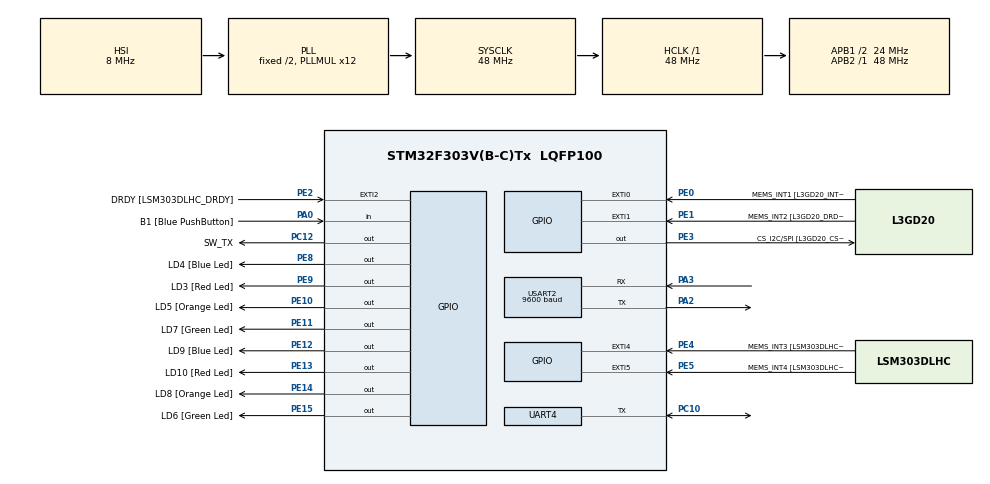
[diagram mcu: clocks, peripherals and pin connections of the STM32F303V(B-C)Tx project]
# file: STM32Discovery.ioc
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Mcu.Family=STM32F3
Mcu.Name=STM32F303V(B-C)Tx
Mcu.Package=LQFP100
NVIC.PriorityGroup=NVIC_PRIORITYGROUP_0
NVIC.TIM2_IRQn=true\:0\:0\:false\:false\:true\:true
NVIC.TIM3_IRQn=true\:0\:0\:false\:false\:true\:true
NVIC.UART4_IRQn=true\:0\:0\:false\:false\:true\:true
PA0.GPIO_Label=B1 [Blue PushButton]
PA0.GPIO_Mode=GPIO_MODE_INPUT
PA0.GPIO_PuPd=GPIO_NOPULL
PA0.Signal=GPIO_Input
PA11.GPIO_Label=DM
PA11.Signal=USB_DM
PA12.GPIO_Label=DP
PA12.Signal=USB_DP
PA13.GPIO_Label=SWDIO
PA13.Signal=SYS_JTMS-SWDIO
PA14.GPIO_Label=SWCLK
PA14.Signal=SYS_JTCK-SWCLK
PA2.Mode=Asynchronous
PA2.Signal=USART2_TX
PA3.Mode=Asynchronous
PA3.Signal=USART2_RX
PA5.GPIO_Label=SPI1_SCK [L3GD20_SCL/SPC]
PA5.GPIO_Mode=GPIO_MODE_AF_PP
PA5.GPIO_PuPd=GPIO_NOPULL
PA5.GPIO_Speed=GPIO_SPEED_FREQ_LOW
PA5.Signal=SPI1_SCK
PA6.GPIO_Label=SPI1_MISO [L3GD20_SA0/SDO]
PA6.GPIO_Mode=GPIO_MODE_AF_PP
PA6.GPIO_PuPd=GPIO_NOPULL
PA6.GPIO_Speed=GPIO_SPEED_FREQ_LOW
PA6.Signal=SPI1_MISO
PA7.GPIO_Label=SPI1_MISO [L3GD20_SDA/SDI/SDO]
PA7.GPIO_Mode=GPIO_MODE_AF_PP
PA7.GPIO_PuPd=GPIO_NOPULL
PA7.GPIO_Speed=GPIO_SPEED_FREQ_LOW
PA7.Signal=SPI1_MOSI
PB3.GPIO_Label=SWO
PB3.Signal=SYS_JTDO-TRACESWO
PB6.GPIO_FM6=__NULL
PB6.GPIO_Label=I2C1_SCL [LSM303DLHC_SCL]
PB6.GPIO_Mode=GPIO_MODE_AF_OD
PB6.GPIO_PuPd=GPIO_NOPULL
PB6.GPIO_Speed=GPIO_SPEED_FREQ_LOW
PB6.Signal=I2C1_SCL
PB7.GPIO_FM7=__NULL
PB7.GPIO_Label=I2C1_SDA [LSM303DLHC_SDA]
PB7.GPIO_Mode=GPIO_MODE_AF_OD
PB7.GPIO_PuPd=GPIO_NOPULL
PB7.GPIO_Speed=GPIO_SPEED_FREQ_LOW
PB7.Signal=I2C1_SDA
PC10.Mode=Half_duplex(single_wire_mode)
PC10.Signal=UART4_TX
PC12.GPIO_Label=SW_TX
PC12.Signal=GPIO_Output
PC14-OSC32_IN.GPIO_Label=OSC32_IN
PC14-OSC32_IN.Signal=RCC_OSC32_IN
PC15-OSC32_OUT.GPIO_Label=OSC32_OUT
PC15-OSC32_OUT.Signal=RCC_OSC32_OUT
PE0.GPIO_Label=MEMS_INT1 [L3GD20_INT1]
PE0.GPIO_ModeDefaultEXTI=GPIO_MODE_EVT_RISING
PE0.GPIO_PuPd=GPIO_NOPULL
PE0.Signal=GPXTI0
PE1.GPIO_Label=MEMS_INT2 [L3GD20_DRDY/INT2]
PE1.GPIO_ModeDefaultEXTI=GPIO_MODE_EVT_RISING
PE1.GPIO_PuPd=GPIO_NOPULL
PE1.Signal=GPXTI1
PE10.GPIO_Label=LD5 [Orange Led]
PE10.GPIO_ModeDefaultOutputPP=GPIO_MODE_OUTPUT_PP
PE10.GPIO_PuPd=GPIO_NOPULL
PE10.GPIO_Speed=GPIO_SPEED_FREQ_LOW
PE10.Signal=GPIO_Output
PE11.GPIO_Label=LD7 [Green Led]
PE11.GPIO_ModeDefaultOutputPP=GPIO_MODE_OUTPUT_PP
PE11.GPIO_PuPd=GPIO_NOPULL
PE11.GPIO_Speed=GPIO_SPEED_FREQ_LOW
PE11.Signal=GPIO_Output
PE12.GPIO_Label=LD9 [Blue Led]
PE12.GPIO_ModeDefaultOutputPP=GPIO_MODE_OUTPUT_PP
PE12.GPIO_PuPd=GPIO_NOPULL
PE12.GPIO_Speed=GPIO_SPEED_FREQ_LOW
PE12.Signal=GPIO_Output
PE13.GPIO_Label=LD10 [Red Led]
PE13.GPIO_ModeDefaultOutputPP=GPIO_MODE_OUTPUT_PP
PE13.GPIO_PuPd=GPIO_NOPULL
PE13.GPIO_Speed=GPIO_SPEED_FREQ_LOW
PE13.Signal=GPIO_Output
PE14.GPIO_Label=LD8 [Orange Led]
PE14.GPIO_ModeDefaultOutputPP=GPIO_MODE_OUTPUT_PP
PE14.GPIO_PuPd=GPIO_NOPULL
PE14.GPIO_Speed=GPIO_SPEED_FREQ_LOW
PE14.Signal=GPIO_Output
PE15.GPIO_Label=LD6 [Green Led]
PE15.GPIO_ModeDefaultOutputPP=GPIO_MODE_OUTPUT_PP
PE15.GPIO_PuPd=GPIO_NOPULL
PE15.GPIO_Speed=GPIO_SPEED_FREQ_LOW
PE15.Signal=GPIO_Output
PE2.GPIO_Label=DRDY [LSM303DLHC_DRDY]
PE2.GPIO_ModeDefaultEXTI=GPIO_MODE_EVT_RISING
PE2.GPIO_PuPd=GPIO_NOPULL
PE2.Signal=GPXTI2
PE3.GPIO_Label=CS_I2C/SPI [L3GD20_CS_I2C/SPI]
PE3.GPIO_ModeDefaultOutputPP=GPIO_MODE_OUTPUT_PP
PE3.GPIO_PuPd=GPIO_NOPULL
PE3.GPIO_Speed=GPIO_SPEED_FREQ_LOW
PE3.Signal=GPIO_Output
PE4.GPIO_Label=MEMS_INT3 [LSM303DLHC_INT1]
PE4.GPIO_ModeDefaultEXTI=GPIO_MODE_EVT_RISING
PE4.GPIO_PuPd=GPIO_NOPULL
PE4.Signal=GPXTI4
PE5.GPIO_Label=MEMS_INT4 [LSM303DLHC_INT2]
PE5.GPIO_ModeDefaultEXTI=GPIO_MODE_EVT_RISING
PE5.GPIO_PuPd=GPIO_NOPULL
PE5.Signal=GPXTI5
PE8.GPIO_Label=LD4 [Blue Led]
PE8.GPIO_ModeDefaultOutputPP=GPIO_MODE_OUTPUT_PP
PE8.GPIO_PuPd=GPIO_NOPULL
PE8.GPIO_Speed=GPIO_SPEED_FREQ_LOW
PE8.Signal=GPIO_Output
PE9.GPIO_Label=LD3 [Red Led]
PE9.GPIO_ModeDefaultOutputPP=GPIO_MODE_OUTPUT_PP
PE9.GPIO_PuPd=GPIO_NOPULL
PE9.GPIO_Speed=GPIO_SPEED_FREQ_LOW
PE9.Signal=GPIO_Output
PF0-OSC_IN.GPIO_Label=OSC_IN
PF0-OSC_IN.Mode=HSE-External-Oscillator
PF0-OSC_IN.Signal=RCC_OSC_IN
PF1-OSC_OUT.GPIO_Label=OSC_OUT
PF1-OSC_OUT.Mode=HSE-External-Oscillator
PF1-OSC_OUT.Signal=RCC_OSC_OUT
ProjectManager.HeapSize=0x200
ProjectManager.StackSize=0x400
ProjectManager.TargetToolchain=SW4STM32
RCC.AHBFreq_Value=48000000
RCC.APB1CLKDivider=RCC_HCLK_DIV2
RCC.APB1Freq_Value=24000000
RCC.APB1TimFreq_Value=48000000
RCC.APB2Freq_Value=48000000
RCC.APB2TimFreq_Value=48000000
RCC.CortexFreq_Value=48000000
RCC.HCLKFreq_Value=48000000
RCC.HSE_VALUE=8000000
RCC.HSI_VALUE=8000000
RCC.LSE_VALUE=32768
RCC.PLLMUL=RCC_PLL_MUL12
RCC.SYSCLKFreq_VALUE=48000000
RCC.SYSCLKSourceVirtual=RCC_SYSCLKSOURCE_PLLCLK
RCC.USBFreq_Value=48000000
TIM2.Period=99
TIM2.Prescaler=49
TIM3.Period=99
TIM3.Prescaler=479
UART4.BaudRate=9600
UART4.Parity=PARITY_ODD
UART4.RxPinLevelInvertParam=UART_ADVFEATURE_RXINV_DISABLE
UART4.StopBits=UART_STOPBITS_2
UART4.WordLength=WORDLENGTH_9B
USART2.BaudRate=9600
USART2.Parity=PARITY_ODD
USART2.StopBits=STOPBITS_2
USART2.VirtualMode-Asynchronous=VM_ASYNC
USART2.WordLength=WORDLENGTH_9B
VP_TIM2_VS_ClockSourceINT.Mode=Internal
VP_TIM3_VS_ClockSourceINT.Mode=Internal
board=STM32F3DISCOVERY

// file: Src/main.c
/**
  ******************************************************************************
  * File Name          : main.c
  * Description        : Main program body
  ******************************************************************************
  ** This notice applies to any and all portions of this file
  * that are not between comment pairs USER CODE BEGIN and
  * USER CODE END. Other portions of this file, whether
  * inserted by the user or by software development tools
  * are owned by their respective copyright owners.
  *
  * COPYRIGHT(c) 2017 STMicroelectronics
  *
  * Redistribution and use in source and binary forms, with or without modification,
  * are permitted provided that the following conditions are met:
  *   1. Redistributions of source code must retain the above copyright notice,
  *      this list of conditions and the following disclaimer.
  *   2. Redistributions in binary form must reproduce the above copyright notice,
  *      this list of conditions and the following disclaimer in the documentation
  *      and/or other materials provided with the distribution.
  *   3. Neither the name of STMicroelectronics nor the names of its contributors
  *      may be used to endorse or promote products derived from this software
  *      without specific prior written permission.
  *
  * THIS SOFTWARE IS PROVIDED BY THE COPYRIGHT HOLDERS AND CONTRIBUTORS "AS IS"
  * AND ANY EXPRESS OR IMPLIED WARRANTIES, INCLUDING, BUT NOT LIMITED TO, THE
  * IMPLIED WARRANTIES OF MERCHANTABILITY AND FITNESS FOR A PARTICULAR PURPOSE ARE
  * DISCLAIMED. IN NO EVENT SHALL THE COPYRIGHT HOLDER OR CONTRIBUTORS BE LIABLE
  * FOR ANY DIRECT, INDIRECT, INCIDENTAL, SPECIAL, EXEMPLARY, OR CONSEQUENTIAL
  * DAMAGES (INCLUDING, BUT NOT LIMITED TO, PROCUREMENT OF SUBSTITUTE GOODS OR
  * SERVICES; LOSS OF USE, DATA, OR PROFITS; OR BUSINESS INTERRUPTION) HOWEVER
  * CAUSED AND ON ANY THEORY OF LIABILITY, WHETHER IN CONTRACT, STRICT LIABILITY,
  * OR TORT (INCLUDING NEGLIGENCE OR OTHERWISE) ARISING IN ANY WAY OUT OF THE USE
  * OF THIS SOFTWARE, EVEN IF ADVISED OF THE POSSIBILITY OF SUCH DAMAGE.
  *
  ******************************************************************************
  */
#include "main.h"
#include "stm32f3xx_hal.h"

/* USER CODE BEGIN Includes */
#include "jeti_uart.h"
/* USER CODE END Includes */

TIM_HandleTypeDef htim2;
TIM_HandleTypeDef htim3;

UART_HandleTypeDef huart4;
UART_HandleTypeDef huart2;

/* USER CODE BEGIN PV */
/* Private variables ---------------------------------------------------------*/

uint8_t circle_buff[2048] = {0};
uint16_t p_low = 0;
uint16_t p_high = 0;
uint32_t timetick_ms =0;

/* USER CODE END PV */

void SystemClock_Config(void);
static void MX_GPIO_Init(void);
static void MX_UART4_Init(void);
static void MX_TIM2_Init(void);
static void MX_USART2_UART_Init(void);
static void MX_TIM3_Init(void);

/* USER CODE BEGIN PFP */
/* Private function prototypes -----------------------------------------------*/

/* USER CODE END PFP */

/* USER CODE BEGIN 0 */

void HAL_TIM_PeriodElapsedCallback(TIM_HandleTypeDef *htim){
	if(&htim->Instance ==TIM2){
		HAL_GPIO_TogglePin(LD3_GPIO_Port,LD3_Pin);
	}
}

/* USER CODE END 0 */

int main(void)
{

  /* MCU Configuration----------------------------------------------------------*/

  /* Reset of all peripherals, Initializes the Flash interface and the Systick. */
  HAL_Init();

  /* Configure the system clock */
  SystemClock_Config();

  /* Initialize all configured peripherals */
  MX_GPIO_Init();
  MX_UART4_Init();
  MX_TIM2_Init();
  MX_USART2_UART_Init();
  MX_TIM3_Init();

  /* USER CODE BEGIN 2 */
  HAL_TIM_Base_Start_IT(&htim2);
  HAL_TIM_Base_Start_IT(&htim3);
  __HAL_UART_ENABLE_IT(&huart4, UART_IT_RXNE);

  HAL_GPIO_WritePin(SW_TX_GPIO_Port,SW_TX_Pin,1);

  uint32_t every_10ms = 0;
  uint32_t every_1s = 0;
  uint32_t every_100ms = 0;

	JETI_EX_DATA ex_data;
	ex_data.man_ID = 0xA4a3;
	ex_data.dev_ID = 0x1259;
	ex_data.identifier_1 = 1;
	ex_data.data_type_1 = 0;
	ex_data.data_1 = 0x1F & 12;
	ex_data.identifier_2 = 2;
	ex_data.data_type_2 = 0;
	ex_data.data_2 = (0x1F & 17) | 0x80;

    JETI_EX_TEXT ex_text1;
    ex_text1.man_ID = 0xA4a3;
    ex_text1.dev_ID = 0x1259;
    ex_text1.identifier = 1;
    ex_text1.label_value = "Deo";
    ex_text1.label_unit = "S";

    JETI_EX_TEXT ex_text2;
    ex_text2.man_ID = 0xA4a3;
    ex_text2.dev_ID = 0x1259;
    ex_text2.identifier = 2;
    ex_text2.label_value = "Fly";
    ex_text2.label_unit = "L";

    JETI_EX_TEXT ex_text3;
    ex_text3.man_ID = 0xA4a3;
    ex_text3.dev_ID = 0x1259;
    ex_text3.identifier = 0;
    ex_text3.label_value = "123456";
    ex_text3.label_unit = "";

    uint8_t text[] = {0xFE,0x20,0x20,0x20,0x2A,0x4D,0x53,0x50,0x45,0x45,0x44,0x20,0x20,0x20,0x6D,0x2F,0x73,0x20,0x20,0x03E,0x3E,0x3E,0x3E,0x3E,0x3E,0x3E,0x3E,0x20,0x31,0x30,0x30,0x2E,0x30,0xFF};
    uint8_t text_l = 34;
    uint16_t seq_text[34];
    uint16_t resend;

    JETI_EX_TEXT ex_text_plain;
	ex_text_plain._msg_lenght = text_l;

    generate_seq(text,ex_text_plain._seq,text_l);

    esemble_seq_data(&ex_data);
    esemble_seq_text(&ex_text1);
    esemble_seq_text(&ex_text2);
    esemble_seq_text(&ex_text3);
    int d=0;

  /* USER CODE END 2 */

  /* Infinite loop */
  /* USER CODE BEGIN WHILE */

	  every_10ms = timetick_ms;
	  every_100ms = timetick_ms;
	  every_1s = timetick_ms;

	  int what = 0;
  while (1)
  {
  /* USER CODE END WHILE */

  /* USER CODE BEGIN 3 */
	  jeti_uart();

	  if(timetick_ms >= every_10ms+10){

		  every_10ms = timetick_ms;
	  }
	  if(timetick_ms >= every_100ms+120){

		  send_jeti_data(&ex_data);
		  send_jeti_text(&ex_text_plain);
		  every_100ms = timetick_ms;
		  HAL_GPIO_TogglePin(LD10_GPIO_Port,LD10_Pin);
	  }
	  if(timetick_ms >= every_1s+3000){

		  if(what == 0){
			  send_jeti_text(&ex_text3);
			  send_jeti_text(&ex_text_plain);
			  what++;
			  HAL_GPIO_TogglePin(LD3_GPIO_Port,LD3_Pin);
		  }else if(what == 1){
			  send_jeti_text(&ex_text2);
			  send_jeti_text(&ex_text_plain);
			  HAL_GPIO_TogglePin(LD4_GPIO_Port,LD4_Pin);
			  what++;
		  }else if(what == 2){
			  send_jeti_text(&ex_text1);
			  send_jeti_text(&ex_text_plain);
			  HAL_GPIO_TogglePin(LD5_GPIO_Port,LD5_Pin);
			  what=0;
		  }

		  every_1s = timetick_ms;
	  }

  }
  /* USER CODE END 3 */

}

/** System Clock Configuration
*/
void SystemClock_Config(void)
{

  RCC_OscInitTypeDef RCC_OscInitStruct;
  RCC_ClkInitTypeDef RCC_ClkInitStruct;
  RCC_PeriphCLKInitTypeDef PeriphClkInit;

    /**Initializes the CPU, AHB and APB busses clocks
    */
  RCC_OscInitStruct.OscillatorType = RCC_OSCILLATORTYPE_HSI;
  RCC_OscInitStruct.HSIState = RCC_HSI_ON;
  RCC_OscInitStruct.HSICalibrationValue = 16;
  RCC_OscInitStruct.PLL.PLLState = RCC_PLL_ON;
  RCC_OscInitStruct.PLL.PLLSource = RCC_PLLSOURCE_HSI;
  RCC_OscInitStruct.PLL.PLLMUL = RCC_PLL_MUL12;
  if (HAL_RCC_OscConfig(&RCC_OscInitStruct) != HAL_OK)
  {
    _Error_Handler(__FILE__, __LINE__);
  }

    /**Initializes the CPU, AHB and APB busses clocks
    */
  RCC_ClkInitStruct.ClockType = RCC_CLOCKTYPE_HCLK|RCC_CLOCKTYPE_SYSCLK
                              |RCC_CLOCKTYPE_PCLK1|RCC_CLOCKTYPE_PCLK2;
  RCC_ClkInitStruct.SYSCLKSource = RCC_SYSCLKSOURCE_PLLCLK;
  RCC_ClkInitStruct.AHBCLKDivider = RCC_SYSCLK_DIV1;
  RCC_ClkInitStruct.APB1CLKDivider = RCC_HCLK_DIV2;
  RCC_ClkInitStruct.APB2CLKDivider = RCC_HCLK_DIV1;

  if (HAL_RCC_ClockConfig(&RCC_ClkInitStruct, FLASH_LATENCY_1) != HAL_OK)
  {
    _Error_Handler(__FILE__, __LINE__);
  }

  PeriphClkInit.PeriphClockSelection = RCC_PERIPHCLK_USART2|RCC_PERIPHCLK_UART4;
  PeriphClkInit.Usart2ClockSelection = RCC_USART2CLKSOURCE_PCLK1;
  PeriphClkInit.Uart4ClockSelection = RCC_UART4CLKSOURCE_PCLK1;
  if (HAL_RCCEx_PeriphCLKConfig(&PeriphClkInit) != HAL_OK)
  {
    _Error_Handler(__FILE__, __LINE__);
  }

    /**Configure the Systick interrupt time
    */
  HAL_SYSTICK_Config(HAL_RCC_GetHCLKFreq()/1000);

    /**Configure the Systick
    */
  HAL_SYSTICK_CLKSourceConfig(SYSTICK_CLKSOURCE_HCLK);

  /* SysTick_IRQn interrupt configuration */
  HAL_NVIC_SetPriority(SysTick_IRQn, 0, 0);
}

/* TIM2 init function */
static void MX_TIM2_Init(void)
{

  TIM_ClockConfigTypeDef sClockSourceConfig;
  TIM_MasterConfigTypeDef sMasterConfig;

  htim2.Instance = TIM2;
  htim2.Init.Prescaler = 49;
  htim2.Init.CounterMode = TIM_COUNTERMODE_UP;
  htim2.Init.Period = 99;
  htim2.Init.ClockDivision = TIM_CLOCKDIVISION_DIV1;
  htim2.Init.AutoReloadPreload = TIM_AUTORELOAD_PRELOAD_DISABLE;
  if (HAL_TIM_Base_Init(&htim2) != HAL_OK)
  {
    _Error_Handler(__FILE__, __LINE__);
  }

  sClockSourceConfig.ClockSource = TIM_CLOCKSOURCE_INTERNAL;
  if (HAL_TIM_ConfigClockSource(&htim2, &sClockSourceConfig) != HAL_OK)
  {
    _Error_Handler(__FILE__, __LINE__);
  }

  sMasterConfig.MasterOutputTrigger = TIM_TRGO_RESET;
  sMasterConfig.MasterSlaveMode = TIM_MASTERSLAVEMODE_DISABLE;
  if (HAL_TIMEx_MasterConfigSynchronization(&htim2, &sMasterConfig) != HAL_OK)
  {
    _Error_Handler(__FILE__, __LINE__);
  }

}

/* TIM3 init function */
static void MX_TIM3_Init(void)
{

  TIM_ClockConfigTypeDef sClockSourceConfig;
  TIM_MasterConfigTypeDef sMasterConfig;

  htim3.Instance = TIM3;
  htim3.Init.Prescaler = 479;
  htim3.Init.CounterMode = TIM_COUNTERMODE_UP;
  htim3.Init.Period = 99;
  htim3.Init.ClockDivision = TIM_CLOCKDIVISION_DIV1;
  htim3.Init.AutoReloadPreload = TIM_AUTORELOAD_PRELOAD_DISABLE;
  if (HAL_TIM_Base_Init(&htim3) != HAL_OK)
  {
    _Error_Handler(__FILE__, __LINE__);
  }

  sClockSourceConfig.ClockSource = TIM_CLOCKSOURCE_INTERNAL;
  if (HAL_TIM_ConfigClockSource(&htim3, &sClockSourceConfig) != HAL_OK)
  {
    _Error_Handler(__FILE__, __LINE__);
  }

  sMasterConfig.MasterOutputTrigger = TIM_TRGO_RESET;
  sMasterConfig.MasterSlaveMode = TIM_MASTERSLAVEMODE_DISABLE;
  if (HAL_TIMEx_MasterConfigSynchronization(&htim3, &sMasterConfig) != HAL_OK)
  {
    _Error_Handler(__FILE__, __LINE__);
  }

}

/* UART4 init function */
static void MX_UART4_Init(void)
{

  huart4.Instance = UART4;
  huart4.Init.BaudRate = 9600;
  huart4.Init.WordLength = UART_WORDLENGTH_9B;
  huart4.Init.StopBits = UART_STOPBITS_2;
  huart4.Init.Parity = UART_PARITY_ODD;
  huart4.Init.Mode = UART_MODE_TX_RX;
  huart4.Init.HwFlowCtl = UART_HWCONTROL_NONE;
  huart4.Init.OverSampling = UART_OVERSAMPLING_16;
  huart4.Init.OneBitSampling = UART_ONE_BIT_SAMPLE_DISABLE;
  huart4.AdvancedInit.AdvFeatureInit = UART_ADVFEATURE_NO_INIT;
  if (HAL_HalfDuplex_Init(&huart4) != HAL_OK)
  {
    _Error_Handler(__FILE__, __LINE__);
  }

}

/* USART2 init function */
static void MX_USART2_UART_Init(void)
{

  huart2.Instance = USART2;
  huart2.Init.BaudRate = 9600;
  huart2.Init.WordLength = UART_WORDLENGTH_9B;
  huart2.Init.StopBits = UART_STOPBITS_2;
  huart2.Init.Parity = UART_PARITY_ODD;
  huart2.Init.Mode = UART_MODE_TX_RX;
  huart2.Init.HwFlowCtl = UART_HWCONTROL_NONE;
  huart2.Init.OverSampling = UART_OVERSAMPLING_16;
  huart2.Init.OneBitSampling = UART_ONE_BIT_SAMPLE_DISABLE;
  huart2.AdvancedInit.AdvFeatureInit = UART_ADVFEATURE_NO_INIT;
  if (HAL_UART_Init(&huart2) != HAL_OK)
  {
    _Error_Handler(__FILE__, __LINE__);
  }

}

/** Configure pins as
        * Analog
        * Input
        * Output
        * EVENT_OUT
        * EXTI
     PA5   ------> SPI1_SCK
     PA6   ------> SPI1_MISO
     PA7   ------> SPI1_MOSI
     PA11   ------> USB_DM
     PA12   ------> USB_DP
     PB6   ------> I2C1_SCL
     PB7   ------> I2C1_SDA
*/
static void MX_GPIO_Init(void)
{

  GPIO_InitTypeDef GPIO_InitStruct;

  /* GPIO Ports Clock Enable */
  __HAL_RCC_GPIOE_CLK_ENABLE();
  __HAL_RCC_GPIOC_CLK_ENABLE();
  __HAL_RCC_GPIOF_CLK_ENABLE();
  __HAL_RCC_GPIOA_CLK_ENABLE();
  __HAL_RCC_GPIOB_CLK_ENABLE();

  /*Configure GPIO pin Output Level */
  HAL_GPIO_WritePin(GPIOE, CS_I2C_SPI_Pin|LD4_Pin|LD3_Pin|LD5_Pin
                          |LD7_Pin|LD9_Pin|LD10_Pin|LD8_Pin
                          |LD6_Pin, GPIO_PIN_RESET);

  /*Configure GPIO pin Output Level */
  HAL_GPIO_WritePin(SW_TX_GPIO_Port, SW_TX_Pin, GPIO_PIN_RESET);

  /*Configure GPIO pins : DRDY_Pin MEMS_INT3_Pin MEMS_INT4_Pin MEMS_INT1_Pin
                           MEMS_INT2_Pin */
  GPIO_InitStruct.Pin = DRDY_Pin|MEMS_INT3_Pin|MEMS_INT4_Pin|MEMS_INT1_Pin
                          |MEMS_INT2_Pin;
  GPIO_InitStruct.Mode = GPIO_MODE_EVT_RISING;
  GPIO_InitStruct.Pull = GPIO_NOPULL;
  HAL_GPIO_Init(GPIOE, &GPIO_InitStruct);

  /*Configure GPIO pins : CS_I2C_SPI_Pin LD4_Pin LD3_Pin LD5_Pin
                           LD7_Pin LD9_Pin LD10_Pin LD8_Pin
                           LD6_Pin */
  GPIO_InitStruct.Pin = CS_I2C_SPI_Pin|LD4_Pin|LD3_Pin|LD5_Pin
                          |LD7_Pin|LD9_Pin|LD10_Pin|LD8_Pin
                          |LD6_Pin;
  GPIO_InitStruct.Mode = GPIO_MODE_OUTPUT_PP;
  GPIO_InitStruct.Pull = GPIO_NOPULL;
  GPIO_InitStruct.Speed = GPIO_SPEED_FREQ_LOW;
  HAL_GPIO_Init(GPIOE, &GPIO_InitStruct);

  /*Configure GPIO pin : B1_Pin */
  GPIO_InitStruct.Pin = B1_Pin;
  GPIO_InitStruct.Mode = GPIO_MODE_INPUT;
  GPIO_InitStruct.Pull = GPIO_NOPULL;
  HAL_GPIO_Init(B1_GPIO_Port, &GPIO_InitStruct);

  /*Configure GPIO pins : SPI1_SCK_Pin SPI1_MISO_Pin SPI1_MISOA7_Pin */
  GPIO_InitStruct.Pin = SPI1_SCK_Pin|SPI1_MISO_Pin|SPI1_MISOA7_Pin;
  GPIO_InitStruct.Mode = GPIO_MODE_AF_PP;
  GPIO_InitStruct.Pull = GPIO_NOPULL;
  GPIO_InitStruct.Speed = GPIO_SPEED_FREQ_LOW;
  GPIO_InitStruct.Alternate = GPIO_AF5_SPI1;
  HAL_GPIO_Init(GPIOA, &GPIO_InitStruct);

  /*Configure GPIO pins : DM_Pin DP_Pin */
  GPIO_InitStruct.Pin = DM_Pin|DP_Pin;
  GPIO_InitStruct.Mode = GPIO_MODE_AF_PP;
  GPIO_InitStruct.Pull = GPIO_NOPULL;
  GPIO_InitStruct.Speed = GPIO_SPEED_FREQ_HIGH;
  GPIO_InitStruct.Alternate = GPIO_AF14_USB;
  HAL_GPIO_Init(GPIOA, &GPIO_InitStruct);

  /*Configure GPIO pin : SW_TX_Pin */
  GPIO_InitStruct.Pin = SW_TX_Pin;
  GPIO_InitStruct.Mode = GPIO_MODE_OUTPUT_PP;
  GPIO_InitStruct.Pull = GPIO_NOPULL;
  GPIO_InitStruct.Speed = GPIO_SPEED_FREQ_LOW;
  HAL_GPIO_Init(SW_TX_GPIO_Port, &GPIO_InitStruct);

  /*Configure GPIO pins : I2C1_SCL_Pin I2C1_SDA_Pin */
  GPIO_InitStruct.Pin = I2C1_SCL_Pin|I2C1_SDA_Pin;
  GPIO_InitStruct.Mode = GPIO_MODE_AF_OD;
  GPIO_InitStruct.Pull = GPIO_PULLUP;
  GPIO_InitStruct.Speed = GPIO_SPEED_FREQ_LOW;
  GPIO_InitStruct.Alternate = GPIO_AF4_I2C1;
  HAL_GPIO_Init(GPIOB, &GPIO_InitStruct);

}

void _Error_Handler(char * file, int line)
{
  while(1)
  {
  }
}

/************************ (C) COPYRIGHT STMicroelectronics *****END OF FILE****/
